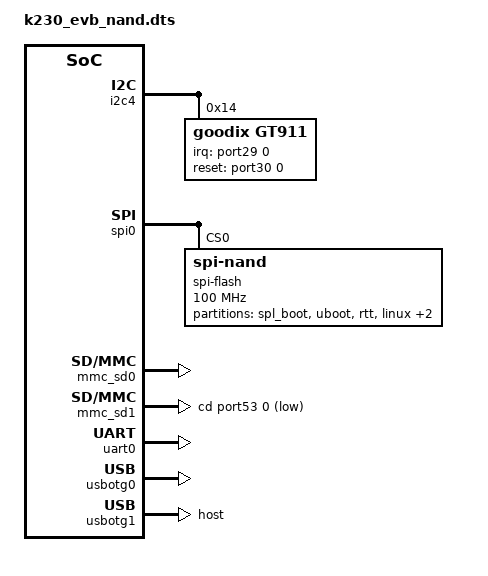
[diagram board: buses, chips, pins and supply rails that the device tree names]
/* Copyright (c) 2023, Canaan Bright Sight Co., Ltd
 *
 * This program is free software; you can redistribute it and/or modify
 * it under the terms of the GNU General Public License version 2 as
 * published by the Free Software Foundation.
*/
#include "k230.dtsi"
#include "clock_provider.dtsi"          /* k230 soc clock tree */
#include "clock_consumer.dtsi"          /* k230 soc clock consumer */
#include "reset_provider.dtsi"          /* k230 soc reset provider */
#include "reset_consumer.dtsi"          /* k230 soc reset consumer */
#include "power_provider.dtsi"          /* k230 soc power provider */
#include "power_consumer.dtsi"          /* k230 soc power consumer */
#include "gpio_provider.dtsi"           /* k230 soc gpio provider */
#include "gpio_consumer.dtsi"           /* k230 soc gpio consumer */


/ {
	aliases {
		serial0 = &uart0;
	};

	chosen {
		bootargs = "";
		linux,initrd-start = <0x0 0xa100000>;
		linux,initrd-end = <0x0 0x0>;
		stdout-path = "serial0:115200";
	};
};
&ddr {
	reg = <0x0 0x8200000 0x0 0x7dff000>;  /*linux memory config*/
};

&gpio29 {
	status = "okay";
};

&gpio30 {
	status = "okay";
};

&i2c4 {
	status = "okay";
	gt911: touchscreen@5d {
		compatible = "goodix,gt911";
		reg = <0x14>;

		interrupt-parent = <&port29>;
		interrupts = <0 IRQ_TYPE_EDGE_RISING>; /*IRQ_TYPE_LEVEL_HIGH*/
		irq-gpios = <&port29 0 GPIO_ACTIVE_HIGH>;
		reset-gpios = <&port30 0 GPIO_ACTIVE_HIGH>;

		goodix,cfg-group0 = [
			44 38 04 80 07 05 35 00 01 08
			28 08 50 32 03 05 00 00 00 00
			11 11 05 18 1A 1E 14 89 29 0C
			3D 3F 0C 08 00 00 00 2A 02 2C
			32 00 00 00 00 03 64 32 00 00
			00 2D 5A 94 D5 02 00 00 00 04
			8E 30 00 80 37 00 74 3F 00 69
			49 00 60 54 00 60 00 00 00 00
			00 00 00 00 00 00 00 00 00 00
			00 00 00 00 00 00 00 00 00 00
			00 00 00 00 00 00 00 00 00 00
			00 00 18 16 14 12 10 0E 0C 0A
			08 06 04 02 FF FF 00 00 00 00
			00 00 00 00 00 00 00 00 00 00
			00 00 00 02 04 06 08 0A 0F 10
			12 22 21 20 1F 1E 1D 1C 18 16
			FF FF FF FF FF FF FF FF 00 00
			00 00 00 00 00 00 00 00 00 00
			00 00 00 00 34 01
		];
		status = "okay";
	};
};

&spi0 {
	status = "okay";
	spi-flash@0 {
		//compatible = "jedec,spi-nor";
		compatible = "spi-nand";
		//compatible = "rohm,dh2228fv";
		#address-cells = <1>;
		#size-cells = <1>;
		reg = <0>;
		spi-max-frequency = <100000000>;
		spi-tx-bus-width = <8>;
		spi-rx-bus-width = <8>;
		status = "okay";
		partitions {
			compatible = "fixed-partitions";
			#address-cells = <1>;
			#size-cells = <1>;

			partition@0 {
						/* spl boot */
						reg = <0x0 0x00080000>;
						label = "spl_boot";
					};

					partition@80000 {
						/* normal boot */
						reg = <0x00080000 0x00180000>;
						label = "uboot";
					};

					partition@200000 {
						/* 8MB rtt  Image */
						reg = <0x00200000 0x00800000>;
						label = "rtt";
					};

					partition@a00000 {
						/* 7MB for linux Image */
						reg = <0x00a00000 0x00700000>;
						label = "linux";
					};

					partition@1100000 {
						/* 8MB for  rootfs*/
						reg = <0x01100000 0x00f00000>;
						label = "rootfs";
					};

					partition@2000000 {
						/* 32MB for  update image*/
						reg = <0 0x2000000>;
						label = "all_flash";
					};

		};
	};

};

&mmc_sd0{
    status = "okay";
    is_emmc;
    io_fixed_1v8;
    mmc-hs200-1_8v;
    rx_delay_line = <0x00>;
    tx_delay_line = <0xc0>;
};

&gpio53 {
	status = "okay";
};

&mmc_sd1{
    status = "okay";
    cd-gpios = <&port53 0 GPIO_ACTIVE_LOW>;
    no-1-8-v;
    cap-sd-highspeed;
    mshc_ctrl_r = <0x00>;
};

&uart0 {
	status = "okay";
};

&usbotg0 {
	status = "okay";
};

&usbotg1 {
	dr_mode = "host";
	status = "okay";
};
